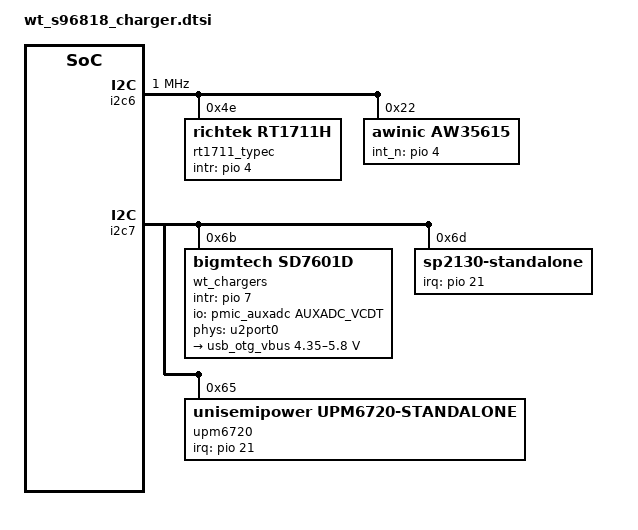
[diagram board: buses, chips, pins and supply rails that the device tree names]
// SPDX-License-Identifier: (GPL-2.0 OR MIT)
/*
 * Copyright (c) 2021 MediaTek Inc.
*/

&i2c6 {
	//aw35615 dev
	clock-frequency = <1000000>;
	status = "okay";

	rt1711_typec: rt1711h@4e {
		compatible = "richtek,rt1711h";
		reg = <0x4e>;
		status = "okay";
		rt-tcpc,name = "type_c_port0"; /* tcpc_device's name */
		rt-tcpc,role-def = <5>; /* 0: Unknown, 1: SNK, 2: SRC */
					/* 3: DRP, 4: Try.SRC, 5: Try.SNK */
		rt-tcpc,rp-level = <0>; /* 0: Default, 1: 1.5, 2: 3.0 */
		rt-tcpc,vconn-supply = <1>; /* 0: Never, 1: Always, */
					    /* 2: EMarkOnly, 3: StartOnly */
		rt1711pd,intr-gpio = <&pio 4 0x0>;
		rt1711pd,intr-gpio-num = <4>;
		//charger = <&wt_chargers>;
		pd-data {
			pd,vid = <0x29cf>;
			pd,pid = <0x1711>;
			pd,source-cap-ext = /bits/ 8 <0xcf 0x29 0x11 0x17
						      0x00 0x00 0x00 0x00
						      0x00 0x00 0x00 0x00
						      0x00 0x00 0x00 0x00
						      0x00 0x00 0x00 0x00
						      0x00 0x00 0x01 0x02
						      0x00>;
			pd,sink-cap-ext = /bits/ 8 <0xcf 0x29 0x11 0x17
						    0x00 0x00 0x00 0x00
						    0x00 0x00 0x01 0x00
						    0x00 0x00 0x00 0x00
						    0x01 0x0b 0x01 0x0a
						    0x0a 0x00 0x00 0x00>;
			pd,mfrs = "RichtekTCPC";

			/*
			 *	VSAFE5V = 0, MAX_POWER = 1, CUSTOM = 2,
			 *	MAX_POWER_LV = 0x21, MAX_POWER_LVIC = 0x31
			 *	MAX_POWER_HV = 0x41, MAX_POWER_HVIC = 0x51
			 */
			pd,charging-policy = <0x31>;

			/*
			 * Fixed 5V, 500 mA <0x00019032>
			 * Fixed 5V, 1A <0x00019064>
			 * Fixed 5V, 2A <0x000190c8>
			 * Fixed 5V, 3A <0x0001912c>
			 * Fixed 9V, 500 mA <0x0002d032>
			 * Fixed 9V, 1A <0x0002d064>
			 * Fixed 9V, 2A <0x0002d0c8>
			 * Fixed 9V, 3A <0x0002d12c>
                         * Fixed 9V, 1.5A <0x0002d096>
                         * Fixed 9V, 1.67A <0x0002d0a7>

			 * Variable 5-9V, 1A <0x8642d064>
			 * Variable 5-9V, 2A <0x8642d0c8>
			 * Variable 5-9V, 3A <0x8642d12c>
			 */
			pd,source-pdo-size = <1>;
			pd,source-pdo-data = <0x00019096>; /* 5V, 1500 mA */
			//pd,sink-pdo-size = <1>;
			//pd,sink-pdo-data = <0x000190c8>;
			pd,sink-pdo-size = <2>;
			pd,sink-pdo-data = <0x000190c8 0x0002d0a7>;

			/*
			 * No DP, host + device
			 *	pd,id-vdo-size = <6>;
			 *	pd,id-vdo-data = <0xd14029cf 0x0 0x17110000
						  0x61000000 0x0 0x41000000>;
			 * With DP Sink capability
			 *	pd,id-vdo-size = <6>;
			 *	pd,id-vdo-data = <0xd54029cf 0x0 0x17110000
						  0x61000000 0x0 0x41000000>;
			 */

			pd,id-vdo-size = <6>;
			pd,id-vdo-data = <0xd14029cf 0x0 0x17110000
					  0x61000000 0x0 0x41000000>;

			bat,nr = <1>;
			pd,country-nr = <0>;

			bat-info0 {
				bat,vid = <0x29cf>;
				bat,pid = <0x1711>;
				bat,mfrs = "bat1";
				bat,design-cap = <3000>;
			};
		};
		dpm-caps {
			local-dr-power;
			local-dr-data;
			// local-ext-power;
			local-usb-comm;
			// local-usb-suspend;
			// local-high-cap;
			// local-give-back;
			local-no-suspend;

			/* With DP Source capability */
			// attempt-enter-dp-mode;
			// attempt-discover-cable;
			// attempt-discover-id;
			// attempt-discover-svids;

			/* 0: disable, 1: prefer-snk, 2: prefer-src */
			pr-check = <0>;
			// pr-reject-as-source;
			// pr-reject-as-sink;
			// pr-check-gp-source;
			// pr-check-gp-sink;

			/* 0: disable, 1: prefer-ufp, 2: prefer-dfp */
			dr-check = <0>;
			// dr-reject-as-dfp;
			// dr-reject-as-ufp;
		};
		displayport {
			/* connection type = "both", "ufp-d", "dfp-d" */
			1st-connection = "dfp-d";
			2nd-connection = "dfp-d";
			// usbr20-not-used;
			typec,receptacle;
			ufp-d {
				// pin-assignment,mode-c;
				// pin-assignment,mode-d;
				// pin-assignment,mode-e;
			};
			dfp-d {
				pin-assignment,mode-c;
				pin-assignment,mode-d;
				pin-assignment,mode-e;
			};
		};
	};

	// SPDX-License-Identifier: GPL-2.0
	aw35615@22 {
		compatible = "awinic,aw35615";
		reg = <0x22>;
		awinic,int_n = <&pio 4 0>;
		aw35615,snk_pdo_size = <2>; /* set sink pdo num*/
		aw35615,snk_pdo_vol = <5000 9000>; /* set sink pdo voltage mV*/
		aw35615,snk_pdo_cur = <2000 1670>; /* set sink pdo current mA*/
		aw35615,snk_pps_size = <0>; /* set sink pps num*/
		aw35615,snk_pps_vol = <0>; /* set sink pps voltage mV*/
		aw35615,snk_pps_cur = <0>; /* set sink pps current mA*/
		aw35615,src_pdo_size = <1>; /* set source pdo num*/
		aw35615,src_pdo_vol = <5000>; /* set source pdo voltage mV*/
		aw35615,src_pdo_cur = <1000>; /* set source pdo current mA*/
		aw35615,src_pps_size = <0>; /* set sink pps num*/
		aw35615,src_pps_vol = <0>; /* set sink pps voltage mV*/
		aw35615,src_pps_cur = <0>; /* set sink pps current mA*/
		aw35615,snk_tog_time = <0x36>; /* set toggle sink time */
		aw35615,src_tog_time = <0x36>; /* set toggle source time */
		aw35615,cc1_ov_th = <0x7>; /* set cc1 ov threshold */
		aw35615,cc2_ov_th = <0x7>; /* set cc2 ov threshold */
		aw35615,lpd_tim_set = <0x4>; /* set the LPD sensitivity */
		status = "okay";
	};
};

&i2c7 {
	wt_chargers:wt_chargers@6B {
		compatible = "bigmtech,sd7601d","upm,upm6910d";
		reg = <0x6B>;
		bootmode = <&chosen>;
		charger_name = "primary_chg";
		load_switch_name = "primary_load_switch";
		intr_gpio = <&pio 7 0x0>;
		status = "okay";

		bigm,alias_name = "sd7601d";
		bigm,vlimit_mv = <4500>;
		bigm,ilimit_ma = <3000>;
		bigm,vsysmin_mv = <3400>;
		bigm,cc_ma = <3000>;
		bigm,cv_mv = <4400>;
		bigm,pre_ma = <540>;
		bigm,eoc_ma = <240>;
		bigm,rechg_mv = <100>;
		bigm,target_hv = <0>;

		upm,eint_name = "upm6910";
		upm,upm6910,charge-detect-enable;
		upm,upm6910,usb-vlim = <4500>;
		upm,upm6910,usb-ilim = <2000>;
		upm,upm6910,usb-vreg = <4200>;
		upm,upm6910,usb-ichg = <2000>;
		upm,upm6910,stat-pin-ctrl = <0>;
		upm,upm6910,precharge-current = <180>;
		upm,upm6910,termination-current = <240>; //set eoc current 240mA
		upm,upm6910,boost-voltage = <5150>; //set otg voltage 5.15V
		upm,upm6910,boost-current = <1200>;
		upm,upm6910,vac-ovp-threshold = <14000>;

		io-channels = <&pmic_auxadc AUXADC_VCDT>;
		io-channel-names = "vbus_dect";

		charger = <&wt_chargers>;
		bc12_sel = <&mtk_ctd>;
		phys = <&u2port0 PHY_TYPE_USB2>;
		phy-names = "usb2-phy";
		usb = <&usb>;
		usb_otg_vbus: otg {
			//enable-gpios = <&gpio GPIOH_4 0>;
			regulator-compatible = "usb-otg-vbus";
			regulator-name = "usb-otg-vbus";
			regulator-min-microvolt = <4350000>;
			regulator-max-microvolt = <5800000>;
			regulator-min-microamp = <500000>;
			regulator-max-microamp = <3000000>;
		};
	};

	sp2130-standalone@6D {
		status = "ok";
		compatible = "sp2130-standalone";
		reg = <0x6D>;
		irq-gpios = <&pio 21 0>;

		sp2130,bat-ovp-alarm-disable;
		sp2130,bat-ucp-alarm-disable;
		sp2130,bat-ucp-disable;
		sp2130,bat-therm-disable;
		sp2130,bus-therm-disable;
		sp2130,die-therm-disable;

		sp2130,bat-ovp-threshold = <4525>;
		sp2130,bat-ovp-alarm-threshold = <4490>;
		sp2130,bat-ocp-threshold = <7000>;
		sp2130,bat-ocp-alarm-threshold = <6000>;
		sp2130,bus-ovp-threshold = <11000>;
		sp2130,bus-ovp-alarm-threshold = <11000>;

		sp2130,bat-therm-threshold = <0x15>;
		sp2130,bus-therm-threshold = <0x15>;
		sp2130,die-therm-threshold = <145>;

		sp2130,ac-ovp-threshold = <11000>;
		sp2130,sense-resistor-mohm = <2>;
	};

	upm6720@65 {
		status = "ok";
		compatible = "unisemipower,upm6720-standalone";
		reg = <0x65>;
		irq-gpios = <&pio 21 0>;
		chg_name = "primary_dvchg";

		// upm6720,bat-ovp-disable;
		upm6720,bat-ocp-disable;
		upm6720,bat-ocp-alm-disable;
		// upm6720,bus-ucp-disable;
		// upm6720,bus-rcp-disable;
		// upm6720,vout-ovp-disable;
		// upm6720,tdie-flt-disable;
		upm6720,tsbus-flt-disable;
		upm6720,tsbat-flt-disable;
		upm6720,wdt-disable;
		upm6720,vbus-errhi-disable;

		upm6720,bat-ovp-threshold = <4525>;	/* unit: 1mV */
		upm6720,bat-ocp-threshold = <8200>;	/* unit: 1mA */
		upm6720,bus-ovp-threshold = <10500>;	/* unit: 1mV set as 10.5V */
		upm6720,bus-ocp-threshold = <3500>;	/* unit: 1mA */
		upm6720,bus-ucp-threshold = <250>;	/* unit: 1mA */
		upm6720,bus-rcp-threshold = <300>;	/* unit: 1mA */
		upm6720,vac1-ovp-threshold = <10500>;	/* unit: 1mV programmed threshold set as 10.5V */
		upm6720,vac2-ovp-threshold = <10500>;	/* unit: 1mV programmed threshold set as 10.5V */
		upm6720,vout-ovp-threshold = <5000>;	/* unit: 1mV */
		upm6720,tdie-flt-threshold = <140>;	/* unit: 1℃ */
		upm6720,tsbus-flt-threshold = <4102>;	/* unit: 0.001% */
		upm6720,tsbat-flt-threshold = <4102>;	/* unit: 0.001% */

		// upm6720,bat-ovp-mask;
		// upm6720,bat-ocp-mask;
		// upm6720,bus-ovp-mask;
		// upm6720,bus-ocp-mask;
		// upm6720,bus-ucp-mask;
		// upm6720,bus-rcp-mask;
		// upm6720,vout-ovp-mask;
		// upm6720,vac1-ovp-mask;
		// upm6720,vac2-ovp-mask;

		// upm6720,vout-present-mask;
		// upm6720,vac1-present-mask;
		// upm6720,vac2-present-mask;
		// upm6720,vbus-present-mask;
		// upm6720,acrb1-config-mask;
		// upm6720,acrb2-config-mask;
		// upm6720,cfly-short-mask;
		// upm6720,adc-done-mask;
		// upm6720,ss-timeout-mask;
		// upm6720,tsbus-flt-mask;
		// upm6720,tsbat-flt-mask;
		// upm6720,tdie-flt-mask;
		// upm6720,wd-mask;
		// upm6720,regn-good-mask;
		// upm6720,conv-active-mask;
		// upm6720,vbus-errhi-mask;

		// upm6720,bat-ovp-alm-disable;
		// upm6720,bat-ocp-alm-disable;
		// upm6720,bat-ucp-alm-disable;
		// upm6720,bus-ovp-alm-disable;
		// upm6720,tdie-alm-disable;

		upm6720,bat-ovp-alm-threshold = <4510>;		/* unit: 1mV */
		upm6720,bat-ocp-alm-threshold = <8000>;		/* unit: 1mA */
		upm6720,bat-ucp-alm-threshold = <0>;		/* unit: 1mA */
		upm6720,bus-ovp-alm-threshold = <11800>;	/* unit: 1mV */
		upm6720,bus-ocp-alm-threshold = <5000>;		/* unit: 1mA */
		upm6720,tdie-alm-threshold = <125>;		/* unit: 1℃ */

		// upm6720,bat-ovp-alm-mask;
		// upm6720,bat-ocp-alm-mask;
		// upm6720,bat-ucp-alm-mask;
		// upm6720,bus-ovp-alm-mask;
		// upm6720,bus-ocp-alm-mask;
		// upm6720,tsbus-tsbat-alm-mask;
		// upm6720,tdie-alm-mask;

		// upm6720,bus-pulldown-en;
		// upm6720,vac1-pulldown-en;
		// upm6720,vac2-pulldown-en;

		upm6720,sense-resistor-mohm = <5>;	/* unit: 1mohm */
		upm6720,ss-timeout = <10000>;		/* unit: 1ms */
		upm6720,wdt-set = <30000>;		/* unit: 1ms */
		upm6720,chg-config-1 = <1>;
		upm6720,fsw-set = <500>;
		upm6720,freq-shift = <0>;
		upm6720,ibus-ucp-fall-dg-sel = <0>;

		upm6720,adc-enable;
		upm6720,adc-rate = <0>;
		upm6720,adc-avg = <0>;
		upm6720,adc-avg-init = <0>;
		upm6720,adc-sample-bit = <0>;
		// upm6720,ibus-adc-disable;
		// upm6720,vbus-adc-disable;
		// upm6720,vac1-adc-disable;
		// upm6720,vac2-adc-disable;
		// upm6720,vout-adc-disable;
		// upm6720,vbat-adc-disable;
		// upm6720,ibat-adc-disable;
		// upm6720,tsbus-adc-disable;
		// upm6720,tsbat-adc-disable;
		// upm6720,tdie-adc-disable;
	};
};
